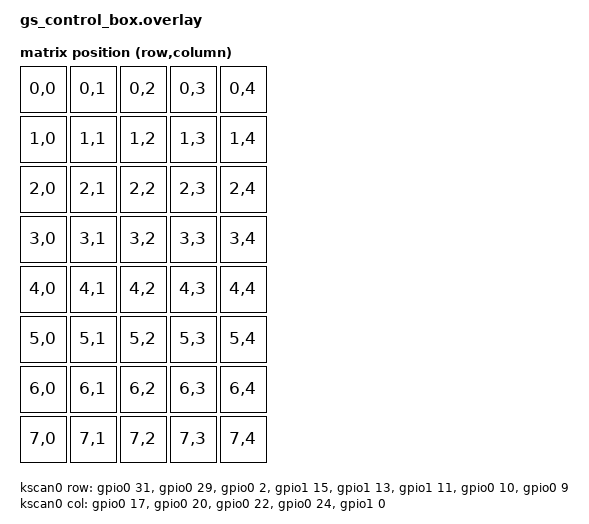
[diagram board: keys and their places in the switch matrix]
#include <dt-bindings/zmk/matrix_transform.h>

/ {
    chosen {
        zmk,kscan = &kscan0;
        zmk,physical-layout = &physical_layout0;
    };

    /*
     * 8x5 matrix using the exact nice!nano physical pads already tested
     * in CircuitPython.
     *
     * Rows:
     * R1 031 = P0.31
     * R2 029 = P0.29
     * R3 002 = P0.02
     * R4 115 = P1.15
     * R5 113 = P1.13
     * R6 111 = P1.11
     * R7 010 = P0.10
     * R8 009 = P0.09
     *
     * Columns:
     * C1 017 = P0.17
     * C2 020 = P0.20
     * C3 022 = P0.22
     * C4 024 = P0.24
     * C5 100 = P1.00
     *
     * There are no matrix diodes. This is intended for the user's
     * one-button-at-a-time control-box use case.
     */

    kscan0: kscan0 {
        compatible = "zmk,kscan-gpio-matrix";
        wakeup-source;
        diode-direction = "col2row";
        debounce-press-ms = <20>;
        debounce-release-ms = <20>;

        col-gpios
            = <&gpio0 17 GPIO_ACTIVE_HIGH>
            , <&gpio0 20 GPIO_ACTIVE_HIGH>
            , <&gpio0 22 GPIO_ACTIVE_HIGH>
            , <&gpio0 24 GPIO_ACTIVE_HIGH>
            , <&gpio1 0  GPIO_ACTIVE_HIGH>
            ;

        row-gpios
            = <&gpio0 31 (GPIO_ACTIVE_HIGH | GPIO_PULL_DOWN)>
            , <&gpio0 29 (GPIO_ACTIVE_HIGH | GPIO_PULL_DOWN)>
            , <&gpio0 2  (GPIO_ACTIVE_HIGH | GPIO_PULL_DOWN)>
            , <&gpio1 15 (GPIO_ACTIVE_HIGH | GPIO_PULL_DOWN)>
            , <&gpio1 13 (GPIO_ACTIVE_HIGH | GPIO_PULL_DOWN)>
            , <&gpio1 11 (GPIO_ACTIVE_HIGH | GPIO_PULL_DOWN)>
            , <&gpio0 10 (GPIO_ACTIVE_HIGH | GPIO_PULL_DOWN)>
            , <&gpio0 9  (GPIO_ACTIVE_HIGH | GPIO_PULL_DOWN)>
            ;
    };

    default_transform: keymap_transform0 {
        compatible = "zmk,matrix-transform";
        rows = <8>;
        columns = <5>;
        map = <
            RC(0,0) RC(0,1) RC(0,2) RC(0,3) RC(0,4)
            RC(1,0) RC(1,1) RC(1,2) RC(1,3) RC(1,4)
            RC(2,0) RC(2,1) RC(2,2) RC(2,3) RC(2,4)
            RC(3,0) RC(3,1) RC(3,2) RC(3,3) RC(3,4)
            RC(4,0) RC(4,1) RC(4,2) RC(4,3) RC(4,4)
            RC(5,0) RC(5,1) RC(5,2) RC(5,3) RC(5,4)
            RC(6,0) RC(6,1) RC(6,2) RC(6,3) RC(6,4)
            RC(7,0) RC(7,1) RC(7,2) RC(7,3) RC(7,4)
        >;
    };

    physical_layout0: physical_layout_0 {
        compatible = "zmk,physical-layout";
        display-name = "GS Control Box";
        kscan = <&kscan0>;
        transform = <&default_transform>;
    };
};
